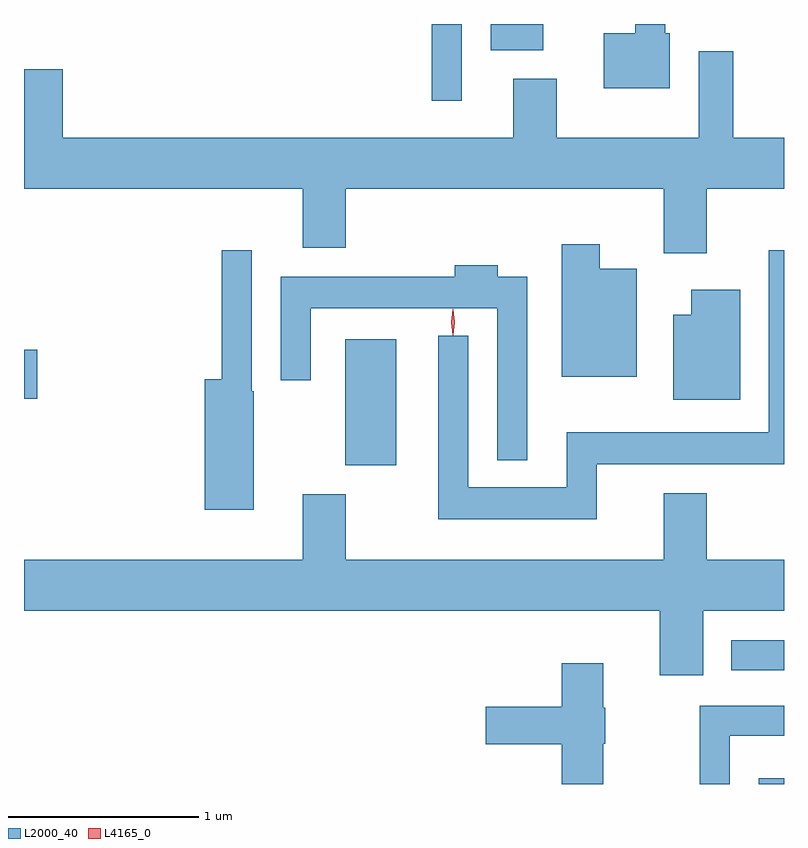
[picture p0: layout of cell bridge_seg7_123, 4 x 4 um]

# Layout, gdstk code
import gdstk
lib = gdstk.Library(unit=1e-6, precision=1e-09)
def R(c, l, rs):  # rectangles x0, y0, x1, y1
    for r in rs: c.add(gdstk.rectangle(r[:2], r[2:], *l))
def P(c, l, *ps):  # polygons
    for p in ps: c.add(gdstk.Polygon(p, *l))
L2000_40 = (2000, 40)
L4165_0 = (4165, 0)

bridge_seg7_123 = lib.new_cell('bridge_seg7_123')
R(bridge_seg7_123, L2000_40, [(1485.061,1753.363,1485.195,1753.394), (1484.918,1753.961,1485.195,1754.119), (1482.886,1755.041,1483.154,1755.704), (1481.195,1755.391,1481.264,1755.649), (1483.341,1756.958,1483.499,1757.363), (1483.651,1757.226,1483.929,1757.363)])
P(bridge_seg7_123, L2000_40, [(1484.594,1757.314),(1484.569,1757.314),(1484.569,1757.363),(1484.411,1757.363),(1484.411,1757.314),(1484.246,1757.314),(1484.246,1757.026),(1484.594,1757.026)],
  [(1484.789,1756.496),(1485.195,1756.496),(1485.195,1756.764),(1484.929,1756.764),(1484.929,1757.219),(1484.746,1757.219),(1484.746,1756.764),(1483.999,1756.764),(1483.999,1757.074),(1483.771,1757.074),(1483.771,1756.764),(1481.399,1756.764),(1481.399,1757.124),(1481.195,1757.124),(1481.195,1756.496),(1482.661,1756.496),(1482.661,1756.186),(1482.889,1756.186),(1482.889,1756.496),(1484.561,1756.496),(1484.561,1756.156),(1484.789,1756.156)],
  [(1484.419,1756.074),(1484.224,1756.074),(1484.224,1756.204),(1484.026,1756.204),(1484.026,1755.506),(1484.419,1755.506)],
  [(1482.404,1755.43),(1482.394,1755.43),(1482.394,1756.173),(1482.236,1756.173),(1482.236,1755.494),(1482.146,1755.494),(1482.146,1754.806),(1482.404,1754.806)],
  [(1484.209,1755.046),(1485.195,1755.046),(1485.195,1756.173),(1485.116,1756.173),(1485.116,1755.214),(1484.051,1755.214),(1484.051,1754.924),(1483.534,1754.924),(1483.534,1755.723),(1483.376,1755.723),(1483.376,1754.756),(1484.209,1754.756)],
  [(1483.844,1756.034),(1483.689,1756.034),(1483.689,1756.094),(1483.461,1756.094),(1483.461,1756.034),(1482.546,1756.034),(1482.546,1755.488),(1482.704,1755.488),(1482.704,1755.866),(1483.686,1755.866),(1483.686,1755.068),(1483.844,1755.068)],
  [(1484.964,1755.964),(1484.706,1755.964),(1484.706,1755.834),(1484.611,1755.834),(1484.611,1755.386),(1484.964,1755.386)],
  [(1484.769,1754.276),(1485.195,1754.276),(1485.195,1754.544),(1484.789,1754.544),(1484.789,1754.894),(1484.561,1754.894),(1484.561,1754.544),(1482.889,1754.544),(1482.889,1754.889),(1482.661,1754.889),(1482.661,1754.544),(1481.195,1754.544),(1481.195,1754.276),(1484.541,1754.276),(1484.541,1753.936),(1484.769,1753.936)],
  [(1484.244,1753.575),(1484.254,1753.575),(1484.254,1753.765),(1484.244,1753.765),(1484.244,1753.999),(1484.026,1753.999),(1484.026,1753.769),(1483.626,1753.769),(1483.626,1753.571),(1484.026,1753.571),(1484.026,1753.363),(1484.244,1753.363)],
  [(1484.909,1753.616),(1485.195,1753.616),(1485.195,1753.774),(1484.751,1753.774),(1484.751,1753.363),(1484.909,1753.363)])
P(bridge_seg7_123, L4165_0, [(1483.453,1755.723),(1483.452,1755.724),(1483.443,1755.793),(1483.452,1755.862),(1483.453,1755.863),(1483.454,1755.862),(1483.463,1755.793),(1483.454,1755.724)],
  [(1483.452,1755.727),(1483.443,1755.794),(1483.452,1755.86),(1483.453,1755.86),(1483.454,1755.86),(1483.463,1755.794),(1483.454,1755.727),(1483.453,1755.727)])

lib.write_gds('bridge_seg7_123.gds')
